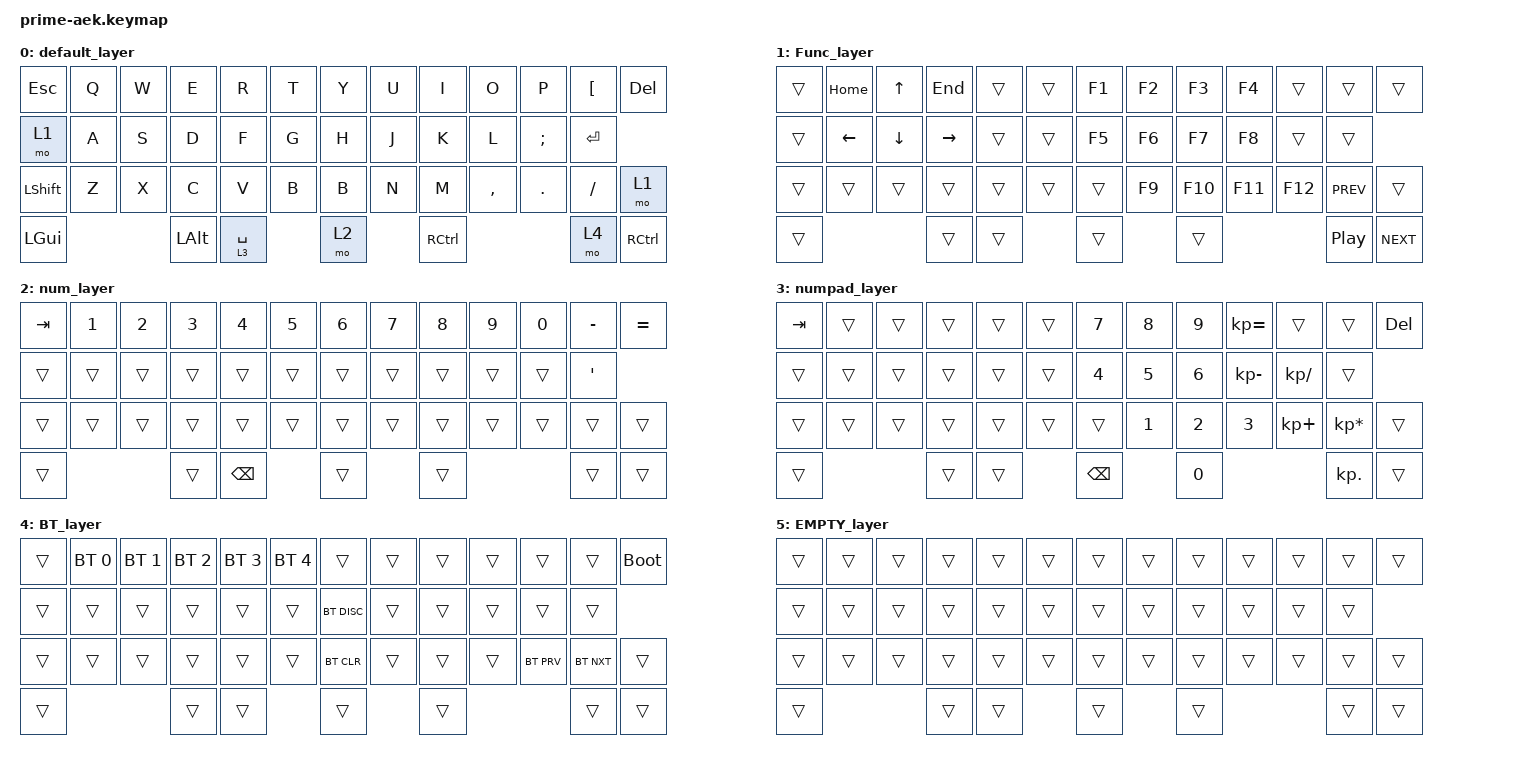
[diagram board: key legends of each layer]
#include <behaviors.dtsi>
#include <dt-bindings/zmk/keys.h>
#include <dt-bindings/zmk/bt.h>

/ {
    keymap {
        compatible = "zmk,keymap";

        default_layer {
            bindings = <
// ╭──────────┬──────────┬──────────┬──────────┬──────────┬──────────╮          ╭──────────┬──────────┬──────────┬──────────┬──────────┬──────────┬──────────╮
// |  ESC     |  Q       |  W       |  E       |  R       |  T       |          |  Y       |  U       |  I       |  O       |  P       |  [       | Del      |
     &kp ESC    &kp Q      &kp W      &kp E      &kp R      &kp T                 &kp Y      &kp U      &kp I      &kp O      &kp P      &kp LBKT   &kp DEL
// ├──────────┼──────────┼──────────┼──────────┼──────────┤──────────┤          ├──────────┼──────────┼──────────┼──────────┼──────────┤──────────┴──────────┤
// |  FN1     |  A       |  S       |  D       |  F       |  G       |          |  H       |  J       |  K       |  L       |  ;       |  Enter              |
     &mo 1     &kp A      &kp S      &kp D      &kp F      &kp G                 &kp H      &kp J      &kp K      &kp L      &kp SEMI   &kp ENTER
// ├──────────┼──────────┼──────────┼──────────┼──────────┤──────────┤          ├──────────┼──────────┼──────────┼──────────┼──────────┤──────────┬──────────┤
// |  L SHIFT |  Z       |  X       |  C       |  V       |  B       |          |  b       |  N       |  M       |  ,       |  .       |  /       |  BT      |
     &kp LSHFT  &kp Z      &kp X      &kp C      &kp V      &kp B                 &kp B      &kp N      &kp M      &kp COMMA  &kp DOT    &kp SLASH  &mo 1
// ├──────────┼──────────┴──────────┼──────────┼──────────┴──────────┤          ├──────────┴──────────┼──────────┼──────────┴──────────┤──────────┤──────────┤
// |  CMD     |                     |  LALT    |  SPACE              |          |  FN                 |  ALT     |                     |  CMD     |  R CTRL  |
     &kp LGUI                         &kp LALT   &lt 3 SPACE                      &mo 2                 &kp RCTRL                         &mo 4     &kp RCTRL
// ╰──────────╯                     ╰──────────┴─────────────────────╯          ╰─────────────────────┴──────────╯                     ╰──────────┴──────────╯
            >;
        };
        Func_layer {
            bindings = <
// ╭──────────┬──────────┬──────────┬──────────┬──────────┬──────────╮          ╭──────────┬──────────┬──────────┬──────────┬──────────┬──────────┬──────────╮
// |  x       |  HOME    |  UP      |  END     |  x       |  x       |          |  F1      |  F2      |  F3      |  F4      |  x       |  x       | x        |
     &trans     &kp HOME   &kp UP     &kp END     &trans     &trans                &kp F1     &kp F2    &kp F3    &kp F4     &trans     &trans    &trans
// ├──────────┼──────────┼──────────┼──────────┼──────────┤──────────┤          ├──────────┼──────────┼──────────┼──────────┼──────────┤──────────┴──────────┤
// |  x       |  LEFT    |  DOWN    |  RIGHT   |  x       |  x       |          |  F5      |  F6      |  F7      |  F8      |  x       |  x                  |
     &trans     &kp LEFT   &kp DOWN   &kp RIGHT  &trans     &trans               &kp F5      &kp F6     &kp F7     &kp F8     &trans     &trans       
// ├──────────┼──────────┼──────────┼──────────┼──────────┤──────────┤          ├──────────┼──────────┼──────────┼──────────┼──────────┤──────────┬──────────┤
// |  x       |  x       |  x       |  x       |  x       |  x       |          |  x       |  F9      |  F10     |  F11     |  F12     |  PREV   |  x       |
     &trans     &trans     &trans     &trans     &trans     &trans                &trans     &kp F9     &kp F10    &kp F11    &kp F12     &kp C_PREV &trans
// ├──────────┼──────────┴──────────┼──────────┼──────────┴──────────┤          ├──────────┴──────────┼──────────┼──────────┴──────────┤──────────┤──────────┤
// |   x      |                     |  x       |  x                  |          |  x                  |  x       |                     |  PAUSE   |  NEXT    |
     &trans                           &trans     &trans                           &trans                &trans                           &kp C_PP   &kp C_NEXT
// ╰──────────╯                     ╰──────────┴─────────────────────╯          ╰─────────────────────┴──────────╯                     ╰──────────┴──────────╯
            >;
        };
        num_layer {
            bindings = <
// ╭──────────┬──────────┬──────────┬──────────┬──────────┬──────────╮          ╭──────────┬──────────┬──────────┬──────────┬──────────┬──────────┬──────────╮
// |  Tab     |  1       |  2       |  3       |  4       |  5       |          |  6       |  7       |  8       |  9       |  0       |  -_      | =        |
     &kp TAB    &kp N1     &kp N2     &kp N3     &kp N4     &kp N5                &kp N6     &kp N7     &kp N8     &kp N9     &kp N0     &kp MINUS  &kp EQUAL
// ├──────────┼──────────┼──────────┼──────────┼──────────┤──────────┤          ├──────────┼──────────┼──────────┼──────────┼──────────┤──────────┴──────────┤
// |  x       |  x       |  x       |  x       |  x       |  x       |          |  x       |  x       |  x       |  x       |  x       |  '                  |
     &trans     &trans     &trans     &trans     &trans     &trans                &trans     &trans     &trans     &trans     &trans     &kp SQT
// ├──────────┼──────────┼──────────┼──────────┼──────────┤──────────┤          ├──────────┼──────────┼──────────┼──────────┼──────────┤──────────┬──────────┤
// |  x       |  x       |  x       |  x       |  x       |  x       |          |  x       |  x       |  x       |  x       |  x       |  x       |  x       |
     &trans     &trans     &trans     &trans     &trans     &trans                &trans     &trans     &trans     &trans     &trans     &trans     &trans
// ├──────────┼──────────┴──────────┼──────────┼──────────┴──────────┤          ├──────────┴──────────┼──────────┼──────────┴──────────┤──────────┤──────────┤
// |  x       |                     |  x       |  backspace          |          |  x                  |  x       |                     |  x       |  x       |
     &trans                           &trans     &kp BACKSPACE                    &trans                &trans                           &trans     &trans    
// ╰──────────╯                     ╰──────────┴─────────────────────╯          ╰─────────────────────┴──────────╯                     ╰──────────┴──────────╯
            >;
        };
        numpad_layer {
            bindings = <
// ╭──────────┬──────────┬──────────┬──────────┬──────────┬──────────╮          ╭──────────┬──────────┬──────────┬──────────┬──────────┬──────────┬──────────╮
// |  Tab     |  x       |  x       |  x       |  x       |  x       |          |  7       |  8       |  9       |  =       |  x       |  x       | DEL      |
     &kp TAB    &trans     &trans     &trans     &trans     &trans                &kp N7     &kp N8     &kp N9     &kp KP_EQUAL &trans   &trans    &kp DEL
// ├──────────┼──────────┼──────────┼──────────┼──────────┤──────────┤          ├──────────┼──────────┼──────────┼──────────┼──────────┤──────────┴──────────┤
// |  x       |  x       |  x       |  x       |  x       |  x       |          |  3       |  4       |  5       |  -       |  /       |  x                  |
     &trans     &trans     &trans     &trans     &trans     &trans                &kp N4     &kp N5     &kp N6     &kp KP_MINUS &kp KP_SLASH     &trans   
// ├──────────┼──────────┼──────────┼──────────┼──────────┤──────────┤          ├──────────┼──────────┼──────────┼──────────┼──────────┤──────────┬──────────┤
// |  x       |  x       |  x       |  x       |  x       |  x       |          |  x       |  1       |  2       |  3       |  +       |  *       |  x       |
     &trans     &trans     &trans     &trans     &trans     &trans                 &trans     &kp N1     &kp N2     &kp N3     &kp KP_PLUS &kp KP_MULTIPLY  &trans    
// ├──────────┼──────────┴──────────┼──────────┼──────────┴──────────┤          ├──────────┴──────────┼──────────┼──────────┴──────────┤──────────┤──────────┤
// |   x      |                     |  x       |  x                  |          |  BACKSPACE          |  0       |                     |  .       |  x       |
     &trans                           &trans     &trans                           &kp BACKSPACE         &kp N0                           &kp KP_DOT  &trans    
// ╰──────────╯                     ╰──────────┴─────────────────────╯          ╰─────────────────────┴──────────╯                     ╰──────────┴──────────╯
            >;
        };
        
        BT_layer {
            bindings = <
// ╭──────────┬──────────┬──────────┬──────────┬──────────┬──────────╮          ╭──────────┬──────────┬──────────┬──────────┬──────────┬──────────┬──────────╮
// |  x       |  BT 1    |  BT 2    |  BT 3    |  BT 4    |  BT 5    |          |  x       |  x       |  x       |  x       |  x       |  x       | x        |
     &trans   &bt BT_SEL 0 &bt BT_SEL 1 &bt BT_SEL 2 &bt BT_SEL 3 &bt BT_SEL 4    &trans     &trans     &trans     &trans     &trans     &trans    &bootloader
// ├──────────┼──────────┼──────────┼──────────┼──────────┤──────────┤          ├──────────┼──────────┼──────────┼──────────┼──────────┤──────────┴──────────┤
// |  x       |  x       |  x       |  x       |  x       |  x       |          |  BT DISC |  x       |  x       |  x       |  x       |  x                  |
     &trans     &trans     &trans     &trans     &trans     &trans                &bt BT_DISC &trans     &trans     &trans     &trans     &trans
// ├──────────┼──────────┼──────────┼──────────┼──────────┤──────────┤          ├──────────┼──────────┼──────────┼──────────┼──────────┤──────────┬──────────┤
// |  x       |  x       |  x       |  x       |  x       |  x       |          |  BT CLEAR|  x       |  x       |  x       |  BT PREV |  BT NEXT |  x       |
     &trans     &trans     &trans     &trans     &trans     &trans                &bt BT_CLR &trans     &trans     &trans     &bt BT_PRV &bt BT_NXT &trans
// ├──────────┼──────────┴──────────┼──────────┼──────────┴──────────┤          ├──────────┴──────────┼──────────┼──────────┴──────────┤──────────┤──────────┤
// |  x       |                     |  x       |  x                  |          |  x                  |  x       |                     |  x       |  x       |
     &trans                           &trans     &trans                           &trans                &trans                           &trans     &trans    
// ╰──────────╯                     ╰──────────┴─────────────────────╯          ╰─────────────────────┴──────────╯                     ╰──────────┴──────────╯
            >;
        };
        EMPTY_layer {
            bindings = <
// ╭──────────┬──────────┬──────────┬──────────┬──────────┬──────────╮          ╭──────────┬──────────┬──────────┬──────────┬──────────┬──────────┬──────────╮
// |  x       |  x       |  x       |  x       |  x       |  x       |          |  x       |  x       |  x       |  x       |  x       |  x       | x        |
     &trans     &trans     &trans     &trans     &trans     &trans                &trans     &trans     &trans     &trans     &trans     &trans    &trans
// ├──────────┼──────────┼──────────┼──────────┼──────────┤──────────┤          ├──────────┼──────────┼──────────┼──────────┼──────────┤──────────┴──────────┤
// |  x       |  x       |  x       |  x       |  x       |  x       |          |  x       |  x       |  x       |  x       |  x       |  x                  |
     &trans     &trans     &trans     &trans     &trans     &trans                &trans     &trans     &trans     &trans     &trans     &trans
// ├──────────┼──────────┼──────────┼──────────┼──────────┤──────────┤          ├──────────┼──────────┼──────────┼──────────┼──────────┤──────────┬──────────┤
// |  x       |  x       |  x       |  x       |  x       |  x       |          |  x       |  x       |  x       |  x       |  x       |  x       |  x       |
     &trans     &trans     &trans     &trans     &trans     &trans                &trans     &trans     &trans     &trans     &trans     &trans     &trans
// ├──────────┼──────────┴──────────┼──────────┼──────────┴──────────┤          ├──────────┴──────────┼──────────┼──────────┴──────────┤──────────┤──────────┤
// |  x       |                     |  x       |  x                  |          |  x                  |  x       |                     |  x       |  x       |
     &trans                           &trans     &trans                           &trans                &trans                           &trans     &trans    
// ╰──────────╯                     ╰──────────┴─────────────────────╯          ╰─────────────────────┴──────────╯                     ╰──────────┴──────────╯
            >;
        };
    };
};
